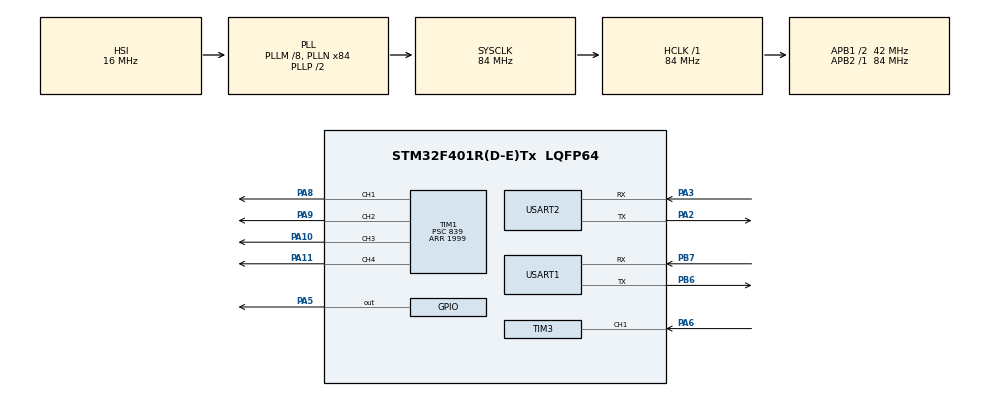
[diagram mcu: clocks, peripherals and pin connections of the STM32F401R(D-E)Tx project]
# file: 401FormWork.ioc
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Mcu.Family=STM32F4
Mcu.Name=STM32F401R(D-E)Tx
Mcu.Package=LQFP64
NVIC.PriorityGroup=NVIC_PRIORITYGROUP_4
NVIC.TIM1_UP_TIM10_IRQn=true\:1\:0\:true\:false\:true\:true
NVIC.TIM2_IRQn=true\:0\:0\:true\:true\:true\:1\:true
NVIC.TIM3_IRQn=true\:0\:0\:false\:true\:true\:3\:true
NVIC.USART1_IRQn=true\:0\:0\:false\:false\:true\:true
NVIC.USART2_IRQn=true\:0\:0\:false\:true\:true\:2\:true
PA10.Signal=S_TIM1_CH3
PA11.Signal=S_TIM1_CH4
PA13.Mode=Serial_Wire
PA13.Signal=SYS_JTMS-SWDIO
PA14.Mode=Serial_Wire
PA14.Signal=SYS_JTCK-SWCLK
PA2.Mode=Asynchronous
PA2.Signal=USART2_TX
PA3.Mode=Asynchronous
PA3.Signal=USART2_RX
PA5.Signal=GPIO_Output
PA6.GPIO_PuPd=GPIO_PULLDOWN
PA6.GPIO_Speed=GPIO_SPEED_FREQ_VERY_HIGH
PA6.Signal=S_TIM3_CH1
PA8.GPIO_ModeDefaultPP=GPIO_MODE_AF_OD
PA8.GPIO_PuPd=GPIO_PULLDOWN
PA8.GPIO_Speed=GPIO_SPEED_FREQ_VERY_HIGH
PA8.Signal=S_TIM1_CH1
PA9.Signal=S_TIM1_CH2
PB6.Mode=Asynchronous
PB6.Signal=USART1_TX
PB7.Mode=Asynchronous
PB7.Signal=USART1_RX
ProjectManager.HeapSize=0x200
ProjectManager.StackSize=0x400
ProjectManager.TargetToolchain=MDK-ARM V5
RCC.48MHZClocksFreq_Value=42000000
RCC.AHBFreq_Value=84000000
RCC.APB1CLKDivider=RCC_HCLK_DIV2
RCC.APB1Freq_Value=42000000
RCC.APB1TimFreq_Value=84000000
RCC.APB2Freq_Value=84000000
RCC.APB2TimFreq_Value=84000000
RCC.CortexFreq_Value=84000000
RCC.HCLKFreq_Value=84000000
RCC.HSE_VALUE=25000000
RCC.HSI_VALUE=16000000
RCC.LSE_VALUE=32768
RCC.PLLM=8
RCC.PLLN=84
RCC.SYSCLKFreq_VALUE=84000000
RCC.SYSCLKSource=RCC_SYSCLKSOURCE_PLLCLK
RCC.VCOOutputFreq_Value=168000000
SH.S_TIM1_CH1.0=TIM1_CH1,PWM Generation1 CH1
SH.S_TIM1_CH2.0=TIM1_CH2,PWM Generation2 CH2
SH.S_TIM1_CH3.0=TIM1_CH3,PWM Generation3 CH3
SH.S_TIM1_CH4.0=TIM1_CH4,PWM Generation4 CH4
SH.S_TIM3_CH1.0=TIM3_CH1,Input_Capture1_from_TI1
TIM1.Channel-PWM\ Generation1\ CH1=TIM_CHANNEL_1
TIM1.Channel-PWM\ Generation2\ CH2=TIM_CHANNEL_2
TIM1.Channel-PWM\ Generation3\ CH3=TIM_CHANNEL_3
TIM1.Channel-PWM\ Generation4\ CH4=TIM_CHANNEL_4
TIM1.Period=1999
TIM1.Prescaler=839
TIM2.Period=999
TIM2.Prescaler=8399
TIM3.Channel-Input_Capture1_from_TI1=TIM_CHANNEL_1
TIM3.Period=0xFFFF
TIM3.Prescaler=83
USART1.VirtualMode=VM_ASYNC
USART2.VirtualMode=VM_ASYNC
VP_TIM1_VS_ClockSourceINT.Mode=Internal
VP_TIM2_VS_ClockSourceINT.Mode=Internal
VP_TIM3_VS_ClockSourceINT.Mode=Internal
board=custom

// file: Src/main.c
/**
  ******************************************************************************
  * @file           : main.c
  * @brief          : Main program body
  ******************************************************************************
  ** This notice applies to any and all portions of this file
  * that are not between comment pairs USER CODE BEGIN and
  * USER CODE END. Other portions of this file, whether
  * inserted by the user or by software development tools
  * are owned by their respective copyright owners.
  *
  * COPYRIGHT(c) 2019 STMicroelectronics
  *
  * Redistribution and use in source and binary forms, with or without modification,
  * are permitted provided that the following conditions are met:
  *   1. Redistributions of source code must retain the above copyright notice,
  *      this list of conditions and the following disclaimer.
  *   2. Redistributions in binary form must reproduce the above copyright notice,
  *      this list of conditions and the following disclaimer in the documentation
  *      and/or other materials provided with the distribution.
  *   3. Neither the name of STMicroelectronics nor the names of its contributors
  *      may be used to endorse or promote products derived from this software
  *      without specific prior written permission.
  *
  * THIS SOFTWARE IS PROVIDED BY THE COPYRIGHT HOLDERS AND CONTRIBUTORS "AS IS"
  * AND ANY EXPRESS OR IMPLIED WARRANTIES, INCLUDING, BUT NOT LIMITED TO, THE
  * IMPLIED WARRANTIES OF MERCHANTABILITY AND FITNESS FOR A PARTICULAR PURPOSE ARE
  * DISCLAIMED. IN NO EVENT SHALL THE COPYRIGHT HOLDER OR CONTRIBUTORS BE LIABLE
  * FOR ANY DIRECT, INDIRECT, INCIDENTAL, SPECIAL, EXEMPLARY, OR CONSEQUENTIAL
  * DAMAGES (INCLUDING, BUT NOT LIMITED TO, PROCUREMENT OF SUBSTITUTE GOODS OR
  * SERVICES; LOSS OF USE, DATA, OR PROFITS; OR BUSINESS INTERRUPTION) HOWEVER
  * CAUSED AND ON ANY THEORY OF LIABILITY, WHETHER IN CONTRACT, STRICT LIABILITY,
  * OR TORT (INCLUDING NEGLIGENCE OR OTHERWISE) ARISING IN ANY WAY OUT OF THE USE
  * OF THIS SOFTWARE, EVEN IF ADVISED OF THE POSSIBILITY OF SUCH DAMAGE.
  *
  ******************************************************************************
  */
#include "main.h"
#include "stm32f4xx_hal.h"

/* USER CODE BEGIN Includes */

#include "ppm.h"
#include "dt.h"
#include "servo.h"

/* USER CODE END Includes */

TIM_HandleTypeDef htim1;
TIM_HandleTypeDef htim2;
TIM_HandleTypeDef htim3;

UART_HandleTypeDef huart1;
UART_HandleTypeDef huart2;

/* USER CODE BEGIN PV */
/* Private variables ---------------------------------------------------------*/
uint8_t data_receive = 0;
/* USER CODE END PV */

void SystemClock_Config(void);
static void MX_GPIO_Init(void);
static void MX_USART2_UART_Init(void);
static void MX_TIM2_Init(void);
static void MX_TIM1_Init(void);
static void MX_TIM3_Init(void);
static void MX_USART1_UART_Init(void);
static void MX_NVIC_Init(void);
void HAL_TIM_MspPostInit(TIM_HandleTypeDef *htim);

/* USER CODE BEGIN PFP */
/* Private function prototypes -----------------------------------------------*/

/* USER CODE END PFP */

/* USER CODE BEGIN 0 */

#ifdef __GNUC__
	#define PUTCHAR_PROTOTYPE int __io_putchar(int ch)
#else
	#define PUTCHAR_PROTOTYPE int fputc(int ch, FILE *f)
#endif /* __GNUC__ */

	PUTCHAR_PROTOTYPE
	{
		HAL_UART_Transmit(&huart2, (uint8_t *)&ch, 1, 0xFFFF);
		return ch;
	}

/* USER CODE END 0 */

int main(void)
{

  /* MCU Configuration----------------------------------------------------------*/

  /* Reset of all peripherals, Initializes the Flash interface and the Systick. */
  HAL_Init();

  /* Configure the system clock */
  SystemClock_Config();

  /* Initialize all configured peripherals */
  MX_GPIO_Init();
  MX_USART2_UART_Init();
  MX_TIM2_Init();
  MX_TIM1_Init();
  MX_TIM3_Init();
  MX_USART1_UART_Init();

  /* Initialize interrupts */
  MX_NVIC_Init();
  /* USER CODE BEGIN 2 */

	HAL_TIM_Base_Start_IT(&htim1);
//	HAL_TIM_Base_Start_IT(&htim2);
	HAL_TIM_Base_Start(&htim3);

	TIM1->CCR1 = 150;
	TIM1->CCR2 = 240;
	TIM1->CCR3 = 240;
	TIM1->CCR4 = 240;

	HAL_TIM_IC_Start_IT(&htim3, TIM_CHANNEL_1);

	HAL_TIM_PWM_Start(&htim1,TIM_CHANNEL_1);
	HAL_TIM_PWM_Start(&htim1,TIM_CHANNEL_2);
	HAL_TIM_PWM_Start(&htim1,TIM_CHANNEL_3);
	HAL_TIM_PWM_Start(&htim1,TIM_CHANNEL_4);

//	HAL_UART_Receive_IT(&huart2,&command,1);
//	HAL_ADC_Start_DMA(&hadc1,(uint32_t*)&AD_Value,50)

	HAL_UART_Receive_IT(&huart1,&data_receive,1);

  /* USER CODE END 2 */

  /* Infinite loop */
  while (1)
  {

  }

}

void SystemClock_Config(void)
{

  RCC_OscInitTypeDef RCC_OscInitStruct;
  RCC_ClkInitTypeDef RCC_ClkInitStruct;

    /**Configure the main internal regulator output voltage
    */
  __HAL_RCC_PWR_CLK_ENABLE();

  __HAL_PWR_VOLTAGESCALING_CONFIG(PWR_REGULATOR_VOLTAGE_SCALE2);

    /**Initializes the CPU, AHB and APB busses clocks
    */
  RCC_OscInitStruct.OscillatorType = RCC_OSCILLATORTYPE_HSI;
  RCC_OscInitStruct.HSIState = RCC_HSI_ON;
  RCC_OscInitStruct.HSICalibrationValue = 16;
  RCC_OscInitStruct.PLL.PLLState = RCC_PLL_ON;
  RCC_OscInitStruct.PLL.PLLSource = RCC_PLLSOURCE_HSI;
  RCC_OscInitStruct.PLL.PLLM = 8;
  RCC_OscInitStruct.PLL.PLLN = 84;
  RCC_OscInitStruct.PLL.PLLP = RCC_PLLP_DIV2;
  RCC_OscInitStruct.PLL.PLLQ = 4;
  if (HAL_RCC_OscConfig(&RCC_OscInitStruct) != HAL_OK)
  {
    _Error_Handler(__FILE__, __LINE__);
  }

    /**Initializes the CPU, AHB and APB busses clocks
    */
  RCC_ClkInitStruct.ClockType = RCC_CLOCKTYPE_HCLK|RCC_CLOCKTYPE_SYSCLK
                              |RCC_CLOCKTYPE_PCLK1|RCC_CLOCKTYPE_PCLK2;
  RCC_ClkInitStruct.SYSCLKSource = RCC_SYSCLKSOURCE_PLLCLK;
  RCC_ClkInitStruct.AHBCLKDivider = RCC_SYSCLK_DIV1;
  RCC_ClkInitStruct.APB1CLKDivider = RCC_HCLK_DIV2;
  RCC_ClkInitStruct.APB2CLKDivider = RCC_HCLK_DIV1;

  if (HAL_RCC_ClockConfig(&RCC_ClkInitStruct, FLASH_LATENCY_2) != HAL_OK)
  {
    _Error_Handler(__FILE__, __LINE__);
  }

    /**Configure the Systick interrupt time
    */
  HAL_SYSTICK_Config(HAL_RCC_GetHCLKFreq()/1000);

    /**Configure the Systick
    */
  HAL_SYSTICK_CLKSourceConfig(SYSTICK_CLKSOURCE_HCLK);

  /* SysTick_IRQn interrupt configuration */
  HAL_NVIC_SetPriority(SysTick_IRQn, 0, 0);
}

/**
  * @brief NVIC Configuration.
  * @retval None
  */
static void MX_NVIC_Init(void)
{
  /* TIM2_IRQn interrupt configuration */
  HAL_NVIC_SetPriority(TIM2_IRQn, 0, 0);
  HAL_NVIC_EnableIRQ(TIM2_IRQn);
  /* USART2_IRQn interrupt configuration */
  HAL_NVIC_SetPriority(USART2_IRQn, 0, 0);
  HAL_NVIC_EnableIRQ(USART2_IRQn);
  /* TIM3_IRQn interrupt configuration */
  HAL_NVIC_SetPriority(TIM3_IRQn, 0, 0);
  HAL_NVIC_EnableIRQ(TIM3_IRQn);
}

/* TIM1 init function */
static void MX_TIM1_Init(void)
{

  TIM_ClockConfigTypeDef sClockSourceConfig;
  TIM_MasterConfigTypeDef sMasterConfig;
  TIM_OC_InitTypeDef sConfigOC;
  TIM_BreakDeadTimeConfigTypeDef sBreakDeadTimeConfig;

  htim1.Instance = TIM1;
  htim1.Init.Prescaler = 839;
  htim1.Init.CounterMode = TIM_COUNTERMODE_UP;
  htim1.Init.Period = 1999;
  htim1.Init.ClockDivision = TIM_CLOCKDIVISION_DIV1;
  htim1.Init.RepetitionCounter = 0;
  if (HAL_TIM_Base_Init(&htim1) != HAL_OK)
  {
    _Error_Handler(__FILE__, __LINE__);
  }

  sClockSourceConfig.ClockSource = TIM_CLOCKSOURCE_INTERNAL;
  if (HAL_TIM_ConfigClockSource(&htim1, &sClockSourceConfig) != HAL_OK)
  {
    _Error_Handler(__FILE__, __LINE__);
  }

  if (HAL_TIM_PWM_Init(&htim1) != HAL_OK)
  {
    _Error_Handler(__FILE__, __LINE__);
  }

  sMasterConfig.MasterOutputTrigger = TIM_TRGO_RESET;
  sMasterConfig.MasterSlaveMode = TIM_MASTERSLAVEMODE_DISABLE;
  if (HAL_TIMEx_MasterConfigSynchronization(&htim1, &sMasterConfig) != HAL_OK)
  {
    _Error_Handler(__FILE__, __LINE__);
  }

  sConfigOC.OCMode = TIM_OCMODE_PWM1;
  sConfigOC.Pulse = 0;
  sConfigOC.OCPolarity = TIM_OCPOLARITY_HIGH;
  sConfigOC.OCNPolarity = TIM_OCNPOLARITY_HIGH;
  sConfigOC.OCFastMode = TIM_OCFAST_DISABLE;
  sConfigOC.OCIdleState = TIM_OCIDLESTATE_RESET;
  sConfigOC.OCNIdleState = TIM_OCNIDLESTATE_RESET;
  if (HAL_TIM_PWM_ConfigChannel(&htim1, &sConfigOC, TIM_CHANNEL_1) != HAL_OK)
  {
    _Error_Handler(__FILE__, __LINE__);
  }

  if (HAL_TIM_PWM_ConfigChannel(&htim1, &sConfigOC, TIM_CHANNEL_2) != HAL_OK)
  {
    _Error_Handler(__FILE__, __LINE__);
  }

  if (HAL_TIM_PWM_ConfigChannel(&htim1, &sConfigOC, TIM_CHANNEL_3) != HAL_OK)
  {
    _Error_Handler(__FILE__, __LINE__);
  }

  if (HAL_TIM_PWM_ConfigChannel(&htim1, &sConfigOC, TIM_CHANNEL_4) != HAL_OK)
  {
    _Error_Handler(__FILE__, __LINE__);
  }

  sBreakDeadTimeConfig.OffStateRunMode = TIM_OSSR_DISABLE;
  sBreakDeadTimeConfig.OffStateIDLEMode = TIM_OSSI_DISABLE;
  sBreakDeadTimeConfig.LockLevel = TIM_LOCKLEVEL_OFF;
  sBreakDeadTimeConfig.DeadTime = 0;
  sBreakDeadTimeConfig.BreakState = TIM_BREAK_DISABLE;
  sBreakDeadTimeConfig.BreakPolarity = TIM_BREAKPOLARITY_HIGH;
  sBreakDeadTimeConfig.AutomaticOutput = TIM_AUTOMATICOUTPUT_DISABLE;
  if (HAL_TIMEx_ConfigBreakDeadTime(&htim1, &sBreakDeadTimeConfig) != HAL_OK)
  {
    _Error_Handler(__FILE__, __LINE__);
  }

  HAL_TIM_MspPostInit(&htim1);

}

/* TIM2 init function */
static void MX_TIM2_Init(void)
{

  TIM_ClockConfigTypeDef sClockSourceConfig;
  TIM_MasterConfigTypeDef sMasterConfig;

  htim2.Instance = TIM2;
  htim2.Init.Prescaler = 8399;
  htim2.Init.CounterMode = TIM_COUNTERMODE_UP;
  htim2.Init.Period = 999;
  htim2.Init.ClockDivision = TIM_CLOCKDIVISION_DIV1;
  if (HAL_TIM_Base_Init(&htim2) != HAL_OK)
  {
    _Error_Handler(__FILE__, __LINE__);
  }

  sClockSourceConfig.ClockSource = TIM_CLOCKSOURCE_INTERNAL;
  if (HAL_TIM_ConfigClockSource(&htim2, &sClockSourceConfig) != HAL_OK)
  {
    _Error_Handler(__FILE__, __LINE__);
  }

  sMasterConfig.MasterOutputTrigger = TIM_TRGO_RESET;
  sMasterConfig.MasterSlaveMode = TIM_MASTERSLAVEMODE_DISABLE;
  if (HAL_TIMEx_MasterConfigSynchronization(&htim2, &sMasterConfig) != HAL_OK)
  {
    _Error_Handler(__FILE__, __LINE__);
  }

}

/* TIM3 init function */
static void MX_TIM3_Init(void)
{

  TIM_ClockConfigTypeDef sClockSourceConfig;
  TIM_MasterConfigTypeDef sMasterConfig;
  TIM_IC_InitTypeDef sConfigIC;

  htim3.Instance = TIM3;
  htim3.Init.Prescaler = 83;
  htim3.Init.CounterMode = TIM_COUNTERMODE_UP;
  htim3.Init.Period = 0xFFFF;
  htim3.Init.ClockDivision = TIM_CLOCKDIVISION_DIV1;
  if (HAL_TIM_Base_Init(&htim3) != HAL_OK)
  {
    _Error_Handler(__FILE__, __LINE__);
  }

  sClockSourceConfig.ClockSource = TIM_CLOCKSOURCE_INTERNAL;
  if (HAL_TIM_ConfigClockSource(&htim3, &sClockSourceConfig) != HAL_OK)
  {
    _Error_Handler(__FILE__, __LINE__);
  }

  if (HAL_TIM_IC_Init(&htim3) != HAL_OK)
  {
    _Error_Handler(__FILE__, __LINE__);
  }

  sMasterConfig.MasterOutputTrigger = TIM_TRGO_RESET;
  sMasterConfig.MasterSlaveMode = TIM_MASTERSLAVEMODE_DISABLE;
  if (HAL_TIMEx_MasterConfigSynchronization(&htim3, &sMasterConfig) != HAL_OK)
  {
    _Error_Handler(__FILE__, __LINE__);
  }

  sConfigIC.ICPolarity = TIM_INPUTCHANNELPOLARITY_RISING;
  sConfigIC.ICSelection = TIM_ICSELECTION_DIRECTTI;
  sConfigIC.ICPrescaler = TIM_ICPSC_DIV1;
  sConfigIC.ICFilter = 0;
  if (HAL_TIM_IC_ConfigChannel(&htim3, &sConfigIC, TIM_CHANNEL_1) != HAL_OK)
  {
    _Error_Handler(__FILE__, __LINE__);
  }

}

/* USART1 init function */
static void MX_USART1_UART_Init(void)
{

  huart1.Instance = USART1;
  huart1.Init.BaudRate = 115200;
  huart1.Init.WordLength = UART_WORDLENGTH_8B;
  huart1.Init.StopBits = UART_STOPBITS_1;
  huart1.Init.Parity = UART_PARITY_NONE;
  huart1.Init.Mode = UART_MODE_TX_RX;
  huart1.Init.HwFlowCtl = UART_HWCONTROL_NONE;
  huart1.Init.OverSampling = UART_OVERSAMPLING_16;
  if (HAL_UART_Init(&huart1) != HAL_OK)
  {
    _Error_Handler(__FILE__, __LINE__);
  }

}

/* USART2 init function */
static void MX_USART2_UART_Init(void)
{

  huart2.Instance = USART2;
  huart2.Init.BaudRate = 115200;
  huart2.Init.WordLength = UART_WORDLENGTH_8B;
  huart2.Init.StopBits = UART_STOPBITS_1;
  huart2.Init.Parity = UART_PARITY_NONE;
  huart2.Init.Mode = UART_MODE_TX_RX;
  huart2.Init.HwFlowCtl = UART_HWCONTROL_NONE;
  huart2.Init.OverSampling = UART_OVERSAMPLING_16;
  if (HAL_UART_Init(&huart2) != HAL_OK)
  {
    _Error_Handler(__FILE__, __LINE__);
  }

}

/** Configure pins as
        * Analog
        * Input
        * Output
        * EVENT_OUT
        * EXTI
*/
static void MX_GPIO_Init(void)
{

  GPIO_InitTypeDef GPIO_InitStruct;

  /* GPIO Ports Clock Enable */
  __HAL_RCC_GPIOA_CLK_ENABLE();
  __HAL_RCC_GPIOB_CLK_ENABLE();

  /*Configure GPIO pin Output Level */
  HAL_GPIO_WritePin(GPIOA, GPIO_PIN_5, GPIO_PIN_RESET);

  /*Configure GPIO pin : PA5 */
  GPIO_InitStruct.Pin = GPIO_PIN_5;
  GPIO_InitStruct.Mode = GPIO_MODE_OUTPUT_PP;
  GPIO_InitStruct.Pull = GPIO_NOPULL;
  GPIO_InitStruct.Speed = GPIO_SPEED_FREQ_LOW;
  HAL_GPIO_Init(GPIOA, &GPIO_InitStruct);

}

/* USER CODE BEGIN 4 */

void HAL_TIM_PeriodElapsedCallback(TIM_HandleTypeDef*htim)
{
	static int n = 0;
	if(htim==&htim1)	//20ms
	{

		DataTrans();
//		ServoControl();

		if(n % 5 == 0)
		{
			HAL_UART_Receive_IT(&huart1,&data_receive,1);
		}

		if(n++ >= 25)
		{
			HAL_GPIO_TogglePin(GPIOA,GPIO_PIN_5);
			n = 0;
		}
	}
}

void HAL_TIM_IC_CaptureCallback(TIM_HandleTypeDef *htim)
{
	if(htim == &htim3)
	{
		PPM_Decode();
	}
}

/* USER CODE END 4 */

void _Error_Handler(char *file, int line)
{
  while(1)
  {
  }
}

/************************ (C) COPYRIGHT STMicroelectronics *****END OF FILE****/
